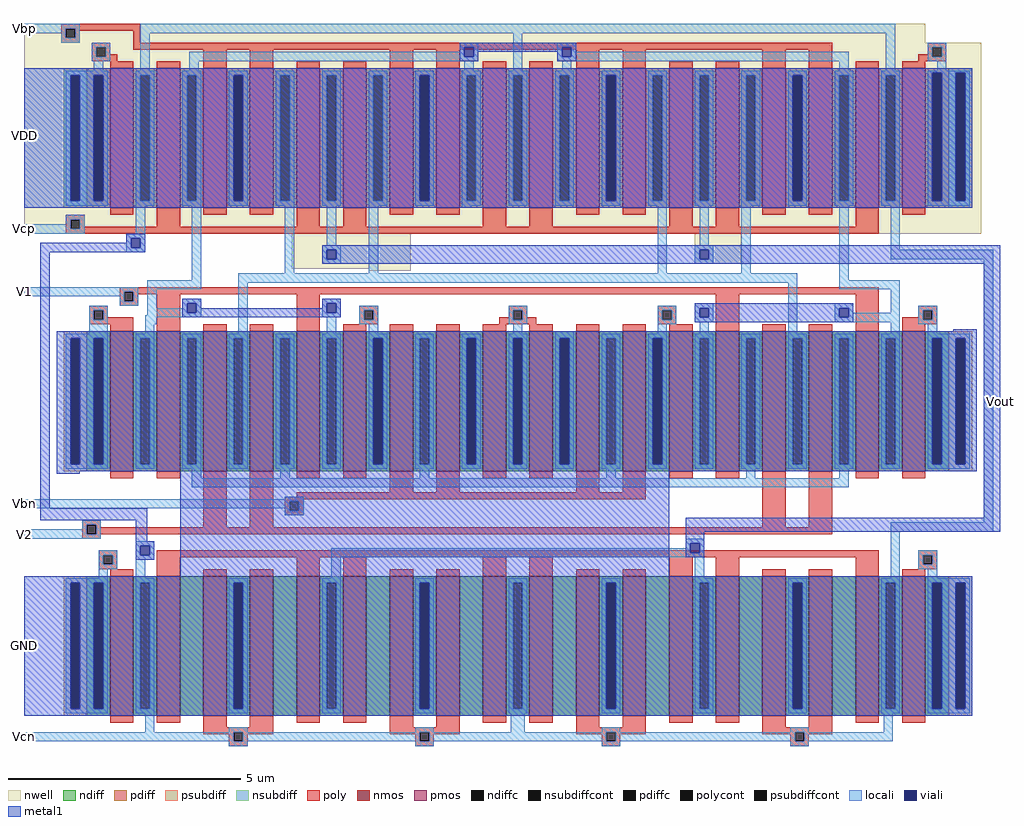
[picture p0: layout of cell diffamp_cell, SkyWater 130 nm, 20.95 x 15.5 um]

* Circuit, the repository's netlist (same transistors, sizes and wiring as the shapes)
* NGSPICE file created from diffamp_cell.ext - technology: sky130A

X0 GND GND Vcn GND sky130_fd_pr__nfet_01v8 ad=1.5 pd=7 as=0.75 ps=3.5 w=3 l=0.5
X1 Vout Vcp a_670_n1120# VDD sky130_fd_pr__pfet_01v8 ad=0.75 pd=3.5 as=0.75 ps=3.5 w=3 l=0.5
X2 Vout a_370_n2200# a_2470_n2170# GND sky130_fd_pr__nfet_01v8 ad=0.75 pd=3.5 as=0.75 ps=3.5 w=3 l=0.5
X3 VDD Vbp a_270_n1120# VDD sky130_fd_pr__pfet_01v8 ad=0.75 pd=3.5 as=0.75 ps=3.5 w=3 l=0.5
X4 a_1670_n2170# Vcn GND GND sky130_fd_pr__nfet_01v8 ad=0.75 pd=3.5 as=0.75 ps=3.5 w=3 l=0.5
X5 Vcn VDD VDD VDD sky130_fd_pr__pfet_01v8 ad=0.75 pd=3.5 as=1.5 ps=7 w=3 l=0.5
X6 Vout Vcp a_670_n1120# VDD sky130_fd_pr__pfet_01v8 ad=0.75 pd=3.5 as=0.75 ps=3.5 w=3 l=0.5
X7 VDD Vbp a_670_n1120# VDD sky130_fd_pr__pfet_01v8 ad=0.75 pd=3.5 as=0.75 ps=3.5 w=3 l=0.5
X8 a_270_n1120# GND GND GND sky130_fd_pr__nfet_01v8 ad=0.75 pd=3.5 as=1.5 ps=7 w=3 l=0.5
X9 VDD Vbp a_270_n1120# VDD sky130_fd_pr__pfet_01v8 ad=0.75 pd=3.5 as=0.75 ps=3.5 w=3 l=0.5
X10 GND Vcn a_470_n2170# GND sky130_fd_pr__nfet_01v8 ad=0.75 pd=3.5 as=0.75 ps=3.5 w=3 l=0.5
X11 Vcn a_370_n2200# a_3270_n2170# GND sky130_fd_pr__nfet_01v8 ad=0.75 pd=3.5 as=0.75 ps=3.5 w=3 l=0.5
X12 a_670_n1120# V2 a_470_n1120# GND sky130_fd_pr__nfet_01v8 ad=0.75 pd=3.5 as=0.75 ps=3.5 w=3 l=0.5
X13 GND Vcn a_1270_n2170# GND sky130_fd_pr__nfet_01v8 ad=0.75 pd=3.5 as=0.75 ps=3.5 w=3 l=0.5
X14 a_2470_n2170# Vcn GND GND sky130_fd_pr__nfet_01v8 ad=0.75 pd=3.5 as=0.75 ps=3.5 w=3 l=0.5
X15 GND GND GND GND sky130_fd_pr__nfet_01v8 ad=0.75 pd=3.5 as=19.5 ps=91 w=3 l=0.5
X16 Vcn Vcp a_270_n1120# VDD sky130_fd_pr__pfet_01v8 ad=0.75 pd=3.5 as=0.75 ps=3.5 w=3 l=0.5
X17 a_270_n1120# V1 a_470_n1120# GND sky130_fd_pr__nfet_01v8 ad=0.75 pd=3.5 as=0.75 ps=3.5 w=3 l=0.5
X18 a_470_n2170# a_370_n2200# Vcn GND sky130_fd_pr__nfet_01v8 ad=0.75 pd=3.5 as=0.75 ps=3.5 w=3 l=0.5
X19 a_270_n1120# Vcp Vcn VDD sky130_fd_pr__pfet_01v8 ad=0.75 pd=3.5 as=0.75 ps=3.5 w=3 l=0.5
X20 GND Vcn a_2070_n2170# GND sky130_fd_pr__nfet_01v8 ad=0.75 pd=3.5 as=0.75 ps=3.5 w=3 l=0.5
X21 a_3270_n2170# Vcn GND GND sky130_fd_pr__nfet_01v8 ad=0.75 pd=3.5 as=0.75 ps=3.5 w=3 l=0.5
X22 a_270_n1120# Vbp VDD VDD sky130_fd_pr__pfet_01v8 ad=0.75 pd=3.5 as=0.75 ps=3.5 w=3 l=0.5
X23 a_470_n1120# V1 a_270_n1120# GND sky130_fd_pr__nfet_01v8 ad=0.75 pd=3.5 as=0.75 ps=3.5 w=3 l=0.5
X24 a_1270_n2170# a_370_n2200# Vout GND sky130_fd_pr__nfet_01v8 ad=0.75 pd=3.5 as=0.75 ps=3.5 w=3 l=0.5
X25 a_670_n1120# Vcp Vout VDD sky130_fd_pr__pfet_01v8 ad=0.75 pd=3.5 as=0.75 ps=3.5 w=3 l=0.5
X26 GND GND GND GND sky130_fd_pr__nfet_01v8 ad=0.75 pd=3.5 as=0 ps=0 w=3 l=0.5
X27 Vcn GND GND GND sky130_fd_pr__nfet_01v8 ad=0.75 pd=3.5 as=1.5 ps=7 w=3 l=0.5
X28 a_470_n1120# V2 a_670_n1120# GND sky130_fd_pr__nfet_01v8 ad=0.75 pd=3.5 as=0.75 ps=3.5 w=3 l=0.5
X29 a_670_n1120# Vbp VDD VDD sky130_fd_pr__pfet_01v8 ad=0.75 pd=3.5 as=0.75 ps=3.5 w=3 l=0.5
X30 GND GND a_270_n1120# GND sky130_fd_pr__nfet_01v8 ad=1.5 pd=7 as=0.75 ps=3.5 w=3 l=0.5
X31 a_270_n1120# Vcp Vcn VDD sky130_fd_pr__pfet_01v8 ad=0.75 pd=3.5 as=0.75 ps=3.5 w=3 l=0.5
X32 a_670_n1120# Vcp Vout VDD sky130_fd_pr__pfet_01v8 ad=0.75 pd=3.5 as=0.75 ps=3.5 w=3 l=0.5
X33 a_270_n1120# GND GND GND sky130_fd_pr__nfet_01v8 ad=0.75 pd=3.5 as=0.75 ps=3.5 w=3 l=0.5
X34 a_670_n1120# Vbp VDD VDD sky130_fd_pr__pfet_01v8 ad=0.75 pd=3.5 as=0.75 ps=3.5 w=3 l=0.5
X35 GND Vbn a_470_n1120# GND sky130_fd_pr__nfet_01v8 ad=0.75 pd=3.5 as=0.75 ps=3.5 w=3 l=0.5
X36 GND Vcn a_2870_n2170# GND sky130_fd_pr__nfet_01v8 ad=0.75 pd=3.5 as=0.75 ps=3.5 w=3 l=0.5
X37 a_2070_n2170# a_370_n2200# Vcn GND sky130_fd_pr__nfet_01v8 ad=0.75 pd=3.5 as=0.75 ps=3.5 w=3 l=0.5
X38 a_670_n1120# V2 a_470_n1120# GND sky130_fd_pr__nfet_01v8 ad=0.75 pd=3.5 as=0.75 ps=3.5 w=3 l=0.5
X39 a_270_n1120# V1 a_470_n1120# GND sky130_fd_pr__nfet_01v8 ad=0.75 pd=3.5 as=0.75 ps=3.5 w=3 l=0.5
X40 GND Vbn a_470_n1120# GND sky130_fd_pr__nfet_01v8 ad=0.75 pd=3.5 as=0.75 ps=3.5 w=3 l=0.5
X41 Vout a_370_n2200# a_870_n2170# GND sky130_fd_pr__nfet_01v8 ad=0.75 pd=3.5 as=0.75 ps=3.5 w=3 l=0.5
X42 VDD VDD Vcn VDD sky130_fd_pr__pfet_01v8 ad=1.5 pd=7 as=0.75 ps=3.5 w=3 l=0.5
X43 a_470_n1120# Vbn GND GND sky130_fd_pr__nfet_01v8 ad=0.75 pd=3.5 as=0.75 ps=3.5 w=3 l=0.5
X44 a_270_n1120# Vbp VDD VDD sky130_fd_pr__pfet_01v8 ad=0.75 pd=3.5 as=0.75 ps=3.5 w=3 l=0.5
X45 a_2870_n2170# a_370_n2200# Vout GND sky130_fd_pr__nfet_01v8 ad=0.75 pd=3.5 as=0.75 ps=3.5 w=3 l=0.5
X46 Vcn a_370_n2200# a_1670_n2170# GND sky130_fd_pr__nfet_01v8 ad=0.75 pd=3.5 as=0.75 ps=3.5 w=3 l=0.5
X47 VDD Vbp a_670_n1120# VDD sky130_fd_pr__pfet_01v8 ad=0.75 pd=3.5 as=0.75 ps=3.5 w=3 l=0.5
X48 Vcn Vcp a_270_n1120# VDD sky130_fd_pr__pfet_01v8 ad=0.75 pd=3.5 as=0.75 ps=3.5 w=3 l=0.5
X49 a_470_n1120# V1 a_270_n1120# GND sky130_fd_pr__nfet_01v8 ad=0.75 pd=3.5 as=0.75 ps=3.5 w=3 l=0.5
X50 a_470_n1120# V2 a_670_n1120# GND sky130_fd_pr__nfet_01v8 ad=0.75 pd=3.5 as=0.75 ps=3.5 w=3 l=0.5
X51 GND GND a_270_n1120# GND sky130_fd_pr__nfet_01v8 ad=0.75 pd=3.5 as=0.75 ps=3.5 w=3 l=0.5
X52 a_470_n1120# Vbn GND GND sky130_fd_pr__nfet_01v8 ad=0.75 pd=3.5 as=0.75 ps=3.5 w=3 l=0.5
X53 a_870_n2170# Vcn GND GND sky130_fd_pr__nfet_01v8 ad=0.75 pd=3.5 as=0.75 ps=3.5 w=3 l=0.5

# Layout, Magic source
magic
tech sky130A
<< nwell >>
rect -100 360 1835 400
rect -100 -50 1955 360
rect 475 -125 730 -50
rect 1340 -115 1440 -50
rect 640 -130 730 -125
<< nmos >>
rect 85 -560 135 -260
rect 185 -560 235 -260
rect 285 -560 335 -260
rect 385 -560 435 -260
rect 485 -560 535 -260
rect 585 -560 635 -260
rect 685 -560 735 -260
rect 785 -560 835 -260
rect 885 -560 935 -260
rect 985 -560 1035 -260
rect 1085 -560 1135 -260
rect 1185 -560 1235 -260
rect 1285 -560 1335 -260
rect 1385 -560 1435 -260
rect 1485 -560 1535 -260
rect 1585 -560 1635 -260
rect 1685 -560 1735 -260
rect 1785 -560 1835 -260
rect 85 -1085 135 -785
rect 185 -1085 235 -785
rect 285 -1085 335 -785
rect 385 -1085 435 -785
rect 485 -1085 535 -785
rect 585 -1085 635 -785
rect 685 -1085 735 -785
rect 785 -1085 835 -785
rect 885 -1085 935 -785
rect 985 -1085 1035 -785
rect 1085 -1085 1135 -785
rect 1185 -1085 1235 -785
rect 1285 -1085 1335 -785
rect 1385 -1085 1435 -785
rect 1485 -1085 1535 -785
rect 1585 -1085 1635 -785
rect 1685 -1085 1735 -785
rect 1785 -1085 1835 -785
<< pmos >>
rect 85 5 135 305
rect 185 5 235 305
rect 285 5 335 305
rect 385 5 435 305
rect 485 5 535 305
rect 585 5 635 305
rect 685 5 735 305
rect 785 5 835 305
rect 885 5 935 305
rect 985 5 1035 305
rect 1085 5 1135 305
rect 1185 5 1235 305
rect 1285 5 1335 305
rect 1385 5 1435 305
rect 1485 5 1535 305
rect 1585 5 1635 305
rect 1685 5 1735 305
rect 1785 5 1835 305
<< ndiff >>
rect 35 -275 85 -260
rect 35 -545 50 -275
rect 70 -545 85 -275
rect 35 -560 85 -545
rect 135 -275 185 -260
rect 135 -545 150 -275
rect 170 -545 185 -275
rect 135 -560 185 -545
rect 235 -275 285 -260
rect 235 -545 250 -275
rect 270 -545 285 -275
rect 235 -560 285 -545
rect 335 -275 385 -260
rect 335 -545 350 -275
rect 370 -545 385 -275
rect 335 -560 385 -545
rect 435 -275 485 -260
rect 435 -545 450 -275
rect 470 -545 485 -275
rect 435 -560 485 -545
rect 535 -275 585 -260
rect 535 -545 550 -275
rect 570 -545 585 -275
rect 535 -560 585 -545
rect 635 -275 685 -260
rect 635 -545 650 -275
rect 670 -545 685 -275
rect 635 -560 685 -545
rect 735 -275 785 -260
rect 735 -545 750 -275
rect 770 -545 785 -275
rect 735 -560 785 -545
rect 835 -275 885 -260
rect 835 -545 850 -275
rect 870 -545 885 -275
rect 835 -560 885 -545
rect 935 -275 985 -260
rect 935 -545 950 -275
rect 970 -545 985 -275
rect 935 -560 985 -545
rect 1035 -275 1085 -260
rect 1035 -545 1050 -275
rect 1070 -545 1085 -275
rect 1035 -560 1085 -545
rect 1135 -275 1185 -260
rect 1135 -545 1150 -275
rect 1170 -545 1185 -275
rect 1135 -560 1185 -545
rect 1235 -275 1285 -260
rect 1235 -545 1250 -275
rect 1270 -545 1285 -275
rect 1235 -560 1285 -545
rect 1335 -275 1385 -260
rect 1335 -545 1350 -275
rect 1370 -545 1385 -275
rect 1335 -560 1385 -545
rect 1435 -275 1485 -260
rect 1435 -545 1450 -275
rect 1470 -545 1485 -275
rect 1435 -560 1485 -545
rect 1535 -275 1585 -260
rect 1535 -545 1550 -275
rect 1570 -545 1585 -275
rect 1535 -560 1585 -545
rect 1635 -275 1685 -260
rect 1635 -545 1650 -275
rect 1670 -545 1685 -275
rect 1635 -560 1685 -545
rect 1735 -275 1785 -260
rect 1735 -545 1750 -275
rect 1770 -545 1785 -275
rect 1735 -560 1785 -545
rect 1835 -275 1885 -260
rect 1835 -545 1850 -275
rect 1870 -545 1885 -275
rect 1835 -560 1885 -545
rect 35 -800 85 -785
rect 35 -1070 50 -800
rect 70 -1070 85 -800
rect 35 -1085 85 -1070
rect 135 -800 185 -785
rect 135 -1070 150 -800
rect 170 -1070 185 -800
rect 135 -1085 185 -1070
rect 235 -1085 285 -785
rect 335 -800 385 -785
rect 335 -1070 350 -800
rect 370 -1070 385 -800
rect 335 -1085 385 -1070
rect 435 -1085 485 -785
rect 535 -800 585 -785
rect 535 -1070 550 -800
rect 570 -1070 585 -800
rect 535 -1085 585 -1070
rect 635 -1085 685 -785
rect 735 -800 785 -785
rect 735 -1070 750 -800
rect 770 -1070 785 -800
rect 735 -1085 785 -1070
rect 835 -1085 885 -785
rect 935 -800 985 -785
rect 935 -1070 950 -800
rect 970 -1070 985 -800
rect 935 -1085 985 -1070
rect 1035 -1085 1085 -785
rect 1135 -800 1185 -785
rect 1135 -1070 1150 -800
rect 1170 -1070 1185 -800
rect 1135 -1085 1185 -1070
rect 1235 -1085 1285 -785
rect 1335 -800 1385 -785
rect 1335 -1070 1350 -800
rect 1370 -1070 1385 -800
rect 1335 -1085 1385 -1070
rect 1435 -1085 1485 -785
rect 1535 -800 1585 -785
rect 1535 -1070 1550 -800
rect 1570 -1070 1585 -800
rect 1535 -1085 1585 -1070
rect 1635 -1085 1685 -785
rect 1735 -800 1785 -785
rect 1735 -1070 1750 -800
rect 1770 -1070 1785 -800
rect 1735 -1085 1785 -1070
rect 1835 -800 1885 -785
rect 1835 -1070 1850 -800
rect 1870 -1070 1885 -800
rect 1835 -1085 1885 -1070
<< pdiff >>
rect 35 290 85 305
rect 35 20 50 290
rect 70 20 85 290
rect 35 5 85 20
rect 135 290 185 305
rect 135 20 150 290
rect 170 20 185 290
rect 135 5 185 20
rect 235 290 285 305
rect 235 20 250 290
rect 270 20 285 290
rect 235 5 285 20
rect 335 290 385 305
rect 335 20 350 290
rect 370 20 385 290
rect 335 5 385 20
rect 435 290 485 305
rect 435 20 450 290
rect 470 20 485 290
rect 435 5 485 20
rect 535 290 585 305
rect 535 20 550 290
rect 570 20 585 290
rect 535 5 585 20
rect 635 290 685 305
rect 635 20 650 290
rect 670 20 685 290
rect 635 5 685 20
rect 735 290 785 305
rect 735 20 750 290
rect 770 20 785 290
rect 735 5 785 20
rect 835 290 885 305
rect 835 20 850 290
rect 870 20 885 290
rect 835 5 885 20
rect 935 290 985 305
rect 935 20 950 290
rect 970 20 985 290
rect 935 5 985 20
rect 1035 290 1085 305
rect 1035 20 1050 290
rect 1070 20 1085 290
rect 1035 5 1085 20
rect 1135 290 1185 305
rect 1135 20 1150 290
rect 1170 20 1185 290
rect 1135 5 1185 20
rect 1235 290 1285 305
rect 1235 20 1250 290
rect 1270 20 1285 290
rect 1235 5 1285 20
rect 1335 290 1385 305
rect 1335 20 1350 290
rect 1370 20 1385 290
rect 1335 5 1385 20
rect 1435 290 1485 305
rect 1435 20 1450 290
rect 1470 20 1485 290
rect 1435 5 1485 20
rect 1535 290 1585 305
rect 1535 20 1550 290
rect 1570 20 1585 290
rect 1535 5 1585 20
rect 1635 290 1685 305
rect 1635 20 1650 290
rect 1670 20 1685 290
rect 1635 5 1685 20
rect 1735 290 1785 305
rect 1735 20 1750 290
rect 1770 20 1785 290
rect 1735 5 1785 20
rect 1835 295 1885 305
rect 1835 20 1850 295
rect 1870 20 1885 295
rect 1835 5 1885 20
<< ndiffc >>
rect 50 -545 70 -275
rect 150 -545 170 -275
rect 250 -545 270 -275
rect 350 -545 370 -275
rect 450 -545 470 -275
rect 550 -545 570 -275
rect 650 -545 670 -275
rect 750 -545 770 -275
rect 850 -545 870 -275
rect 950 -545 970 -275
rect 1050 -545 1070 -275
rect 1150 -545 1170 -275
rect 1250 -545 1270 -275
rect 1350 -545 1370 -275
rect 1450 -545 1470 -275
rect 1550 -545 1570 -275
rect 1650 -545 1670 -275
rect 1750 -545 1770 -275
rect 1850 -545 1870 -275
rect 50 -1070 70 -800
rect 150 -1070 170 -800
rect 350 -1070 370 -800
rect 550 -1070 570 -800
rect 750 -1070 770 -800
rect 950 -1070 970 -800
rect 1150 -1070 1170 -800
rect 1350 -1070 1370 -800
rect 1550 -1070 1570 -800
rect 1750 -1070 1770 -800
rect 1850 -1070 1870 -800
<< pdiffc >>
rect 50 20 70 290
rect 150 20 170 290
rect 250 20 270 290
rect 350 20 370 290
rect 450 20 470 290
rect 550 20 570 290
rect 650 20 670 290
rect 750 20 770 290
rect 850 20 870 290
rect 950 20 970 290
rect 1050 20 1070 290
rect 1150 20 1170 290
rect 1250 20 1270 290
rect 1350 20 1370 290
rect 1450 20 1470 290
rect 1550 20 1570 290
rect 1650 20 1670 290
rect 1750 20 1770 290
rect 1850 20 1870 295
<< psubdiff >>
rect -15 -275 35 -260
rect -15 -545 0 -275
rect 20 -545 35 -275
rect -15 -560 35 -545
rect 1885 -275 1935 -260
rect 1885 -545 1900 -275
rect 1920 -545 1935 -275
rect 1885 -560 1935 -545
rect -15 -800 35 -785
rect -15 -1070 0 -800
rect 20 -1070 35 -800
rect -15 -1085 35 -1070
rect 1885 -800 1935 -785
rect 1885 -1070 1900 -800
rect 1920 -1070 1935 -800
rect 1885 -1085 1935 -1070
<< nsubdiff >>
rect -15 290 35 305
rect -15 20 0 290
rect 20 20 35 290
rect -15 5 35 20
rect 1885 295 1935 305
rect 1885 20 1900 295
rect 1920 20 1935 295
rect 1885 5 1935 20
<< psubdiffcont >>
rect 0 -545 20 -275
rect 1900 -545 1920 -275
rect 0 -1070 20 -800
rect 1900 -1070 1920 -800
<< nsubdiffcont >>
rect 0 20 20 290
rect 1900 20 1920 295
<< poly >>
rect -20 390 150 400
rect -20 370 -10 390
rect 10 385 150 390
rect 10 370 20 385
rect -20 360 20 370
rect 135 360 150 385
rect 45 350 85 360
rect 45 330 55 350
rect 75 335 85 350
rect 135 345 1635 360
rect 75 330 100 335
rect 45 320 100 330
rect 85 305 135 320
rect 185 305 235 320
rect 285 305 335 345
rect 385 305 435 345
rect 485 305 535 320
rect 585 305 635 320
rect 685 305 735 345
rect 785 305 835 345
rect 885 305 935 320
rect 985 305 1035 320
rect 1085 305 1135 345
rect 1185 305 1235 345
rect 1285 305 1335 320
rect 1385 305 1435 320
rect 1485 305 1535 345
rect 1585 305 1635 345
rect 1840 350 1880 360
rect 1840 335 1850 350
rect 1820 330 1850 335
rect 1870 330 1880 350
rect 1820 320 1880 330
rect 1685 305 1735 320
rect 1785 305 1835 320
rect 85 -10 135 5
rect -10 -20 30 -10
rect -10 -40 0 -20
rect 20 -35 30 -20
rect 185 -35 235 5
rect 285 -10 335 5
rect 385 -10 435 5
rect 485 -35 535 5
rect 585 -35 635 5
rect 685 -10 735 5
rect 785 -10 835 5
rect 885 -35 935 5
rect 985 -35 1035 5
rect 1085 -10 1135 5
rect 1185 -10 1235 5
rect 1285 -35 1335 5
rect 1385 -35 1435 5
rect 1485 -10 1535 5
rect 1585 -10 1635 5
rect 1685 -35 1735 5
rect 1785 -10 1835 5
rect 20 -40 1735 -35
rect -10 -50 1735 -40
rect 105 -175 1735 -165
rect 105 -195 115 -175
rect 135 -180 1735 -175
rect 135 -195 145 -180
rect 105 -205 145 -195
rect 40 -215 80 -205
rect 40 -235 50 -215
rect 70 -230 80 -215
rect 70 -235 135 -230
rect 40 -245 135 -235
rect 85 -260 135 -245
rect 185 -260 235 -180
rect 285 -260 335 -245
rect 385 -260 435 -245
rect 485 -260 535 -180
rect 620 -215 660 -205
rect 620 -235 630 -215
rect 650 -235 660 -215
rect 940 -215 980 -205
rect 940 -230 950 -215
rect 620 -245 660 -235
rect 920 -235 950 -230
rect 970 -230 980 -215
rect 1260 -215 1300 -205
rect 970 -235 1000 -230
rect 920 -245 1000 -235
rect 1260 -235 1270 -215
rect 1290 -235 1300 -215
rect 1260 -245 1300 -235
rect 585 -260 635 -245
rect 685 -260 735 -245
rect 785 -260 835 -245
rect 885 -260 935 -245
rect 985 -260 1035 -245
rect 1085 -260 1135 -245
rect 1185 -260 1235 -245
rect 1285 -260 1335 -245
rect 1385 -260 1435 -180
rect 1485 -260 1535 -245
rect 1585 -260 1635 -245
rect 1685 -260 1735 -180
rect 1820 -215 1860 -205
rect 1820 -230 1830 -215
rect 1785 -235 1830 -230
rect 1850 -235 1860 -215
rect 1785 -245 1860 -235
rect 1785 -260 1835 -245
rect 85 -575 135 -560
rect 185 -575 235 -560
rect 25 -675 65 -665
rect 25 -695 35 -675
rect 55 -680 65 -675
rect 285 -680 335 -560
rect 385 -680 435 -560
rect 485 -575 535 -560
rect 585 -575 635 -560
rect 685 -605 735 -560
rect 785 -605 835 -560
rect 885 -575 935 -560
rect 985 -575 1035 -560
rect 1085 -605 1135 -560
rect 1185 -605 1235 -560
rect 1285 -575 1335 -560
rect 1385 -575 1435 -560
rect 485 -615 1235 -605
rect 460 -620 1235 -615
rect 460 -625 500 -620
rect 460 -645 470 -625
rect 490 -645 500 -625
rect 460 -655 500 -645
rect 1485 -680 1535 -560
rect 1585 -680 1635 -560
rect 1685 -575 1735 -560
rect 1785 -575 1835 -560
rect 55 -695 1635 -680
rect 25 -705 65 -695
rect 60 -740 100 -730
rect 60 -760 70 -740
rect 90 -760 100 -740
rect 60 -770 100 -760
rect 185 -745 1735 -730
rect 85 -785 135 -770
rect 185 -785 235 -745
rect 285 -785 335 -770
rect 385 -785 435 -770
rect 485 -785 535 -745
rect 585 -785 635 -745
rect 685 -785 735 -770
rect 785 -785 835 -770
rect 885 -785 935 -745
rect 985 -785 1035 -745
rect 1085 -785 1135 -770
rect 1185 -785 1235 -770
rect 1285 -785 1335 -745
rect 1385 -785 1435 -745
rect 1485 -785 1535 -770
rect 1585 -785 1635 -770
rect 1685 -785 1735 -745
rect 1820 -740 1860 -730
rect 1820 -760 1830 -740
rect 1850 -760 1860 -740
rect 1820 -770 1860 -760
rect 1785 -785 1835 -770
rect 85 -1100 135 -1085
rect 185 -1100 235 -1085
rect 285 -1110 335 -1085
rect 385 -1110 435 -1085
rect 485 -1100 535 -1085
rect 585 -1100 635 -1085
rect 285 -1120 435 -1110
rect 285 -1125 350 -1120
rect 340 -1140 350 -1125
rect 370 -1125 435 -1120
rect 685 -1110 735 -1085
rect 785 -1110 835 -1085
rect 885 -1100 935 -1085
rect 985 -1100 1035 -1085
rect 685 -1120 835 -1110
rect 685 -1125 750 -1120
rect 370 -1140 380 -1125
rect 340 -1150 380 -1140
rect 740 -1140 750 -1125
rect 770 -1125 835 -1120
rect 1085 -1110 1135 -1085
rect 1185 -1110 1235 -1085
rect 1285 -1100 1335 -1085
rect 1385 -1100 1435 -1085
rect 1085 -1120 1235 -1110
rect 1085 -1125 1150 -1120
rect 770 -1140 780 -1125
rect 740 -1150 780 -1140
rect 1140 -1140 1150 -1125
rect 1170 -1125 1235 -1120
rect 1485 -1110 1535 -1085
rect 1585 -1110 1635 -1085
rect 1685 -1100 1735 -1085
rect 1785 -1100 1835 -1085
rect 1485 -1120 1635 -1110
rect 1485 -1125 1555 -1120
rect 1170 -1140 1180 -1125
rect 1140 -1150 1180 -1140
rect 1545 -1140 1555 -1125
rect 1575 -1125 1635 -1120
rect 1575 -1140 1585 -1125
rect 1545 -1150 1585 -1140
<< polycont >>
rect -10 370 10 390
rect 55 330 75 350
rect 1850 330 1870 350
rect 0 -40 20 -20
rect 115 -195 135 -175
rect 50 -235 70 -215
rect 630 -235 650 -215
rect 950 -235 970 -215
rect 1270 -235 1290 -215
rect 1830 -235 1850 -215
rect 35 -695 55 -675
rect 470 -645 490 -625
rect 70 -760 90 -740
rect 1830 -760 1850 -740
rect 350 -1140 370 -1120
rect 750 -1140 770 -1120
rect 1150 -1140 1170 -1120
rect 1555 -1140 1575 -1120
<< locali >>
rect -100 390 20 400
rect -100 380 -10 390
rect -20 370 -10 380
rect 10 370 20 390
rect -20 360 20 370
rect 150 380 1770 400
rect 45 350 85 360
rect 45 330 55 350
rect 75 330 85 350
rect 45 320 85 330
rect 50 300 70 320
rect 150 300 170 380
rect 835 350 875 360
rect 835 340 845 350
rect 255 330 845 340
rect 865 330 875 350
rect 255 320 875 330
rect 255 300 275 320
rect 845 300 865 320
rect 950 300 970 380
rect 1045 350 1085 360
rect 1045 330 1055 350
rect 1075 340 1085 350
rect 1075 330 1670 340
rect 1045 320 1670 330
rect 1055 300 1075 320
rect 1650 300 1670 320
rect 1750 300 1770 380
rect 1840 350 1880 360
rect 1840 330 1850 350
rect 1870 330 1880 350
rect 1840 320 1880 330
rect 1860 300 1880 320
rect -10 290 80 300
rect -10 20 0 290
rect 20 20 50 290
rect 70 20 80 290
rect -10 10 80 20
rect 140 290 180 300
rect 140 20 150 290
rect 170 20 180 290
rect 140 10 180 20
rect 240 290 280 300
rect 240 20 250 290
rect 270 20 280 290
rect 240 10 280 20
rect 340 290 380 300
rect 340 20 350 290
rect 370 20 380 290
rect 340 10 380 20
rect 440 290 480 300
rect 440 20 450 290
rect 470 20 480 290
rect 440 10 480 20
rect 540 290 580 300
rect 540 20 550 290
rect 570 20 580 290
rect 540 10 580 20
rect 640 290 680 300
rect 640 20 650 290
rect 670 20 680 290
rect 640 10 680 20
rect 740 290 780 300
rect 740 20 750 290
rect 770 20 780 290
rect 740 10 780 20
rect 840 290 880 300
rect 840 20 850 290
rect 870 20 880 290
rect 840 10 880 20
rect 940 290 980 300
rect 940 20 950 290
rect 970 20 980 290
rect 940 10 980 20
rect 1040 290 1080 300
rect 1040 20 1050 290
rect 1070 20 1080 290
rect 1040 10 1080 20
rect 1140 290 1180 300
rect 1140 20 1150 290
rect 1170 20 1180 290
rect 1140 10 1180 20
rect 1240 290 1280 300
rect 1240 20 1250 290
rect 1270 20 1280 290
rect 1240 10 1280 20
rect 1340 290 1380 300
rect 1340 20 1350 290
rect 1370 20 1380 290
rect 1340 10 1380 20
rect 1440 290 1480 300
rect 1440 20 1450 290
rect 1470 20 1480 290
rect 1440 10 1480 20
rect 1540 290 1580 300
rect 1540 20 1550 290
rect 1570 20 1580 290
rect 1540 10 1580 20
rect 1640 290 1680 300
rect 1640 20 1650 290
rect 1670 20 1680 290
rect 1640 10 1680 20
rect 1740 290 1780 300
rect 1740 20 1750 290
rect 1770 20 1780 290
rect 1740 10 1780 20
rect 1840 295 1930 300
rect 1840 20 1850 295
rect 1870 20 1900 295
rect 1920 20 1930 295
rect 1840 10 1930 20
rect -10 -20 30 -10
rect -10 -30 0 -20
rect -100 -40 0 -30
rect 20 -40 30 -20
rect -100 -50 30 -40
rect 140 -50 160 10
rect 120 -60 160 -50
rect 120 -80 130 -60
rect 150 -80 160 -60
rect 120 -90 160 -80
rect 260 -150 280 10
rect 460 -135 480 10
rect 550 -75 570 10
rect 540 -85 580 -75
rect 540 -105 550 -85
rect 570 -105 580 -85
rect 540 -115 580 -105
rect 640 -135 660 10
rect 840 5 860 10
rect 1260 -135 1280 10
rect 1350 -75 1370 10
rect 1340 -85 1380 -75
rect 1340 -105 1350 -85
rect 1370 -105 1380 -85
rect 1340 -115 1380 -105
rect 1440 -135 1460 10
rect -100 -175 145 -165
rect -100 -185 115 -175
rect 105 -195 115 -185
rect 135 -195 145 -175
rect 105 -205 145 -195
rect 165 -170 280 -150
rect 360 -155 1560 -135
rect 40 -215 80 -205
rect 40 -235 50 -215
rect 70 -235 80 -215
rect 165 -210 185 -170
rect 240 -200 280 -190
rect 240 -210 250 -200
rect 165 -220 250 -210
rect 270 -220 280 -200
rect 165 -225 280 -220
rect 40 -265 80 -235
rect 160 -230 280 -225
rect 160 -245 185 -230
rect 160 -265 180 -245
rect 360 -265 380 -155
rect 540 -200 580 -190
rect 540 -220 550 -200
rect 570 -220 580 -200
rect 540 -230 580 -220
rect 620 -215 660 -205
rect 550 -265 570 -230
rect 620 -235 630 -215
rect 650 -235 660 -215
rect 620 -245 660 -235
rect 940 -215 980 -205
rect 940 -235 950 -215
rect 970 -235 980 -215
rect 940 -245 980 -235
rect 1260 -215 1300 -205
rect 1260 -235 1270 -215
rect 1290 -235 1300 -215
rect 1260 -245 1300 -235
rect 1340 -210 1380 -200
rect 1340 -230 1350 -210
rect 1370 -230 1380 -210
rect 1340 -240 1380 -230
rect 640 -265 660 -245
rect 950 -265 970 -245
rect -10 -275 80 -265
rect -10 -545 0 -275
rect 20 -545 50 -275
rect 70 -545 80 -275
rect -10 -555 80 -545
rect 140 -275 180 -265
rect 140 -545 150 -275
rect 170 -545 180 -275
rect 140 -555 180 -545
rect 240 -275 280 -265
rect 240 -545 250 -275
rect 270 -545 280 -275
rect 240 -555 280 -545
rect 340 -275 380 -265
rect 340 -545 350 -275
rect 370 -545 380 -275
rect 340 -555 380 -545
rect 440 -275 480 -265
rect 440 -545 450 -275
rect 470 -545 480 -275
rect 440 -555 480 -545
rect 540 -275 580 -265
rect 540 -545 550 -275
rect 570 -545 580 -275
rect 540 -555 580 -545
rect 640 -275 680 -265
rect 640 -545 650 -275
rect 670 -545 680 -275
rect 640 -555 680 -545
rect 740 -275 780 -265
rect 740 -545 750 -275
rect 770 -545 780 -275
rect 740 -555 780 -545
rect 840 -275 880 -265
rect 840 -545 850 -275
rect 870 -545 880 -275
rect 840 -555 880 -545
rect 940 -275 980 -265
rect 940 -545 950 -275
rect 970 -545 980 -275
rect 940 -555 980 -545
rect 1040 -275 1080 -260
rect 1260 -265 1280 -245
rect 1350 -265 1370 -240
rect 1540 -265 1560 -155
rect 1650 -150 1670 10
rect 1760 -85 1780 10
rect 1760 -105 1980 -85
rect 1650 -170 1780 -150
rect 1640 -210 1680 -200
rect 1640 -230 1650 -210
rect 1670 -220 1680 -210
rect 1760 -220 1780 -170
rect 1670 -230 1780 -220
rect 1640 -240 1780 -230
rect 1760 -265 1780 -240
rect 1820 -215 1860 -205
rect 1820 -235 1830 -215
rect 1850 -235 1860 -215
rect 1820 -245 1860 -235
rect 1040 -545 1050 -275
rect 1070 -545 1080 -275
rect 1040 -555 1080 -545
rect 1140 -275 1180 -265
rect 1140 -545 1150 -275
rect 1170 -545 1180 -275
rect 1140 -555 1180 -545
rect 1240 -275 1280 -265
rect 1240 -545 1250 -275
rect 1270 -545 1280 -275
rect 1240 -555 1280 -545
rect 1340 -275 1380 -265
rect 1340 -545 1350 -275
rect 1370 -545 1380 -275
rect 1340 -555 1380 -545
rect 1440 -275 1480 -265
rect 1440 -545 1450 -275
rect 1470 -545 1480 -275
rect 1440 -555 1480 -545
rect 1540 -275 1580 -265
rect 1540 -545 1550 -275
rect 1570 -545 1580 -275
rect 1540 -555 1580 -545
rect 1640 -275 1680 -265
rect 1640 -545 1650 -275
rect 1670 -545 1680 -275
rect 1640 -555 1680 -545
rect 1740 -275 1780 -265
rect 1740 -545 1750 -275
rect 1770 -545 1780 -275
rect 1740 -555 1780 -545
rect 1840 -265 1860 -245
rect 1840 -275 1930 -265
rect 1840 -545 1850 -275
rect 1870 -545 1900 -275
rect 1920 -545 1930 -275
rect 1840 -555 1930 -545
rect 260 -575 280 -555
rect 450 -575 470 -555
rect 750 -575 770 -555
rect 1150 -575 1170 -555
rect 1450 -575 1470 -555
rect 1650 -575 1670 -555
rect 260 -595 1670 -575
rect 460 -620 500 -615
rect -100 -625 500 -620
rect -100 -640 470 -625
rect 460 -645 470 -640
rect 490 -645 500 -625
rect 460 -655 500 -645
rect 25 -675 65 -665
rect 1960 -670 1980 -105
rect 25 -685 35 -675
rect -100 -695 35 -685
rect 55 -695 65 -675
rect -100 -705 65 -695
rect 1760 -690 1980 -670
rect 140 -720 180 -710
rect 60 -740 100 -730
rect 60 -760 70 -740
rect 90 -760 100 -740
rect 60 -770 100 -760
rect 140 -740 150 -720
rect 170 -740 180 -720
rect 1320 -715 1360 -705
rect 1320 -725 1330 -715
rect 140 -750 180 -740
rect 560 -735 1330 -725
rect 1350 -735 1360 -715
rect 560 -745 1360 -735
rect 60 -790 80 -770
rect -10 -800 80 -790
rect -10 -1070 0 -800
rect 20 -1070 50 -800
rect 70 -1070 80 -800
rect -10 -1080 80 -1070
rect 140 -790 160 -750
rect 560 -790 580 -745
rect 1340 -790 1360 -745
rect 1760 -790 1780 -690
rect 1820 -740 1860 -730
rect 1820 -760 1830 -740
rect 1850 -760 1860 -740
rect 1820 -770 1860 -760
rect 140 -800 180 -790
rect 140 -1070 150 -800
rect 170 -1070 180 -800
rect 140 -1080 180 -1070
rect 340 -800 380 -790
rect 340 -1070 350 -800
rect 370 -1070 380 -800
rect 340 -1080 380 -1070
rect 540 -800 580 -790
rect 540 -1070 550 -800
rect 570 -1070 580 -800
rect 540 -1080 580 -1070
rect 740 -800 780 -790
rect 740 -1070 750 -800
rect 770 -1070 780 -800
rect 740 -1080 780 -1070
rect 940 -800 980 -790
rect 940 -1070 950 -800
rect 970 -1070 980 -800
rect 940 -1080 980 -1070
rect 1140 -800 1180 -790
rect 1140 -1070 1150 -800
rect 1170 -1070 1180 -800
rect 1140 -1080 1180 -1070
rect 1340 -800 1380 -790
rect 1340 -1070 1350 -800
rect 1370 -1070 1380 -800
rect 1340 -1080 1380 -1070
rect 1540 -800 1580 -790
rect 1540 -1070 1550 -800
rect 1570 -1070 1580 -800
rect 1540 -1080 1580 -1070
rect 1740 -800 1780 -790
rect 1740 -1070 1750 -800
rect 1770 -1070 1780 -800
rect 1740 -1080 1780 -1070
rect 1840 -790 1860 -770
rect 1840 -800 1930 -790
rect 1840 -1070 1850 -800
rect 1870 -1070 1900 -800
rect 1920 -1070 1930 -800
rect 1840 -1080 1930 -1070
rect 160 -1120 180 -1080
rect 340 -1120 380 -1110
rect 740 -1120 780 -1110
rect 945 -1120 975 -1080
rect 1140 -1120 1180 -1110
rect 1545 -1120 1585 -1110
rect 1745 -1120 1765 -1080
rect -100 -1140 350 -1120
rect 370 -1140 750 -1120
rect 770 -1140 1150 -1120
rect 1170 -1140 1555 -1120
rect 1575 -1140 1765 -1120
rect 340 -1150 380 -1140
rect 740 -1150 780 -1140
rect 1140 -1150 1180 -1140
rect 1545 -1150 1585 -1140
<< viali >>
rect 845 330 865 350
rect 1055 330 1075 350
rect 0 20 20 290
rect 50 20 70 290
rect 350 20 370 290
rect 750 20 770 290
rect 1150 20 1170 290
rect 1550 20 1570 290
rect 1850 20 1870 295
rect 1900 20 1920 295
rect 130 -80 150 -60
rect 550 -105 570 -85
rect 1350 -105 1370 -85
rect 250 -220 270 -200
rect 550 -220 570 -200
rect 1350 -230 1370 -210
rect 0 -545 20 -275
rect 50 -545 70 -275
rect 650 -545 670 -275
rect 850 -545 870 -275
rect 950 -545 970 -275
rect 1650 -230 1670 -210
rect 1050 -545 1070 -275
rect 1250 -545 1270 -275
rect 1850 -545 1870 -275
rect 1900 -545 1920 -275
rect 150 -740 170 -720
rect 1330 -735 1350 -715
rect 0 -1070 20 -800
rect 50 -1070 70 -800
rect 350 -1070 370 -800
rect 750 -1070 770 -800
rect 1150 -1070 1170 -800
rect 1550 -1070 1570 -800
rect 1850 -1070 1870 -800
rect 1900 -1070 1920 -800
<< metal1 >>
rect 835 350 1085 360
rect 835 330 845 350
rect 865 340 1055 350
rect 865 330 875 340
rect 835 320 875 330
rect 1045 330 1055 340
rect 1075 330 1085 350
rect 1045 320 1085 330
rect -100 295 1935 305
rect -100 290 1850 295
rect -100 20 0 290
rect 20 20 50 290
rect 70 20 350 290
rect 370 20 750 290
rect 770 20 1150 290
rect 1170 20 1550 290
rect 1570 20 1850 290
rect 1870 20 1900 295
rect 1920 20 1935 295
rect -100 5 1935 20
rect 120 -60 160 -50
rect 120 -70 130 -60
rect -65 -80 130 -70
rect 150 -80 160 -60
rect -65 -90 160 -80
rect 540 -85 1995 -75
rect -65 -640 -45 -90
rect 540 -105 550 -85
rect 570 -105 1350 -85
rect 1370 -105 1995 -85
rect 540 -115 1995 -105
rect 240 -200 280 -190
rect 240 -220 250 -200
rect 270 -210 280 -200
rect 540 -200 580 -190
rect 540 -210 550 -200
rect 270 -220 550 -210
rect 570 -220 580 -200
rect 240 -230 580 -220
rect 1340 -210 1680 -200
rect 1340 -230 1350 -210
rect 1370 -230 1650 -210
rect 1670 -230 1680 -210
rect 1340 -240 1680 -230
rect 1895 -260 1945 -255
rect -30 -275 1945 -260
rect -30 -545 0 -275
rect 20 -545 50 -275
rect 70 -545 650 -275
rect 670 -545 850 -275
rect 870 -545 950 -275
rect 970 -545 1050 -275
rect 1070 -545 1250 -275
rect 1270 -545 1850 -275
rect 1870 -545 1900 -275
rect 1920 -545 1945 -275
rect -30 -560 1945 -545
rect -30 -565 20 -560
rect -65 -665 165 -640
rect 140 -710 165 -665
rect 140 -720 180 -710
rect 140 -740 150 -720
rect 170 -740 180 -720
rect 140 -750 180 -740
rect 235 -785 1285 -560
rect 1960 -660 1995 -115
rect 1320 -690 1995 -660
rect 1320 -715 1360 -690
rect 1320 -735 1330 -715
rect 1350 -735 1360 -715
rect 1320 -745 1360 -735
rect -100 -800 1935 -785
rect -100 -1070 0 -800
rect 20 -1070 50 -800
rect 70 -1070 350 -800
rect 370 -1070 750 -800
rect 770 -1070 1150 -800
rect 1170 -1070 1550 -800
rect 1570 -1070 1850 -800
rect 1870 -1070 1900 -800
rect 1920 -1070 1935 -800
rect -100 -1085 1935 -1070
<< labels >>
rlabel locali -100 390 -100 390 7 Vbp
port 1 w
rlabel locali -100 -40 -100 -40 7 Vcp
port 3 w
rlabel locali -100 -175 -100 -175 7 V1
port 4 w
rlabel locali -100 -630 -100 -630 7 Vbn
port 5 w
rlabel locali -100 -695 -100 -695 7 V2
port 6 w
rlabel metal1 -100 -935 -100 -935 7 GND
port 7 w
rlabel locali -100 -1130 -100 -1130 7 Vcn
port 8 w
rlabel metal1 -100 160 -100 160 7 VDD
port 2 w
rlabel metal1 1995 -410 1995 -410 3 Vout
port 9 e
<< end >>
